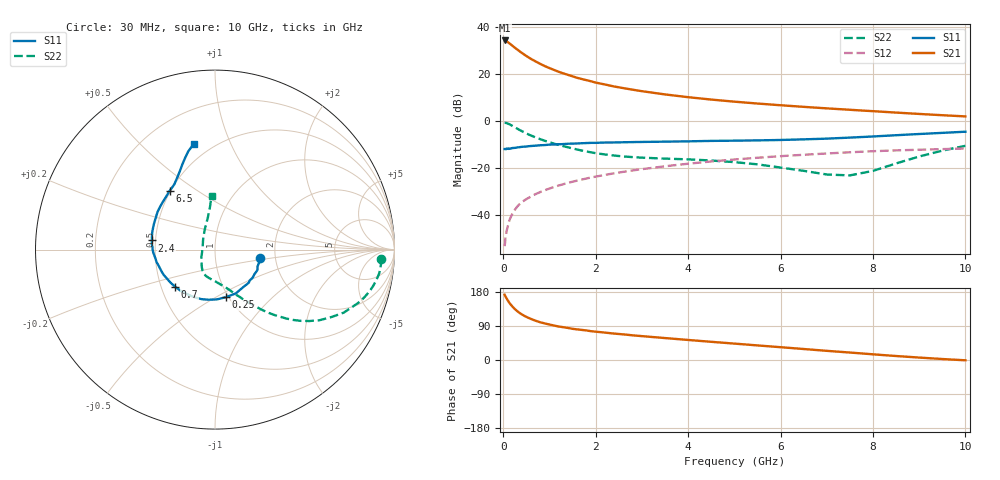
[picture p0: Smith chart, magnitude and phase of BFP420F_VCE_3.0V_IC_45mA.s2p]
! Infineon Technologies  Discrete & RF Semiconductors
! BFP420F
! VCE =  3.0 V,  IC =  45 mA
! Common Emitter S-Parameters:  Sep 2011
# GHz  S  MA  R  50
!  f  S11  S21  S12  S22
! GHz  MAG  ANG  MAG  ANG  MAG  ANG  MAG  ANG
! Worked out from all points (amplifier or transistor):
!   54 points, 30 MHz to 10 GHz, reference 50 ohm
!   highest |S21| = 34.4 dB at 30 MHz (marker M1)
!   |S21| within 3 dB of that: start of sweep to 245.7 MHz
!   unconditionally stable (mu >= 1): 1.322 GHz to end of sweep
!   at 120 MHz: K = 0.40, MSG = 38.3 dB, |S12| = -43.1 dB
!   at 1.3 GHz: K = 1.00, MSG = 23.6 dB, |S12| = -26.8 dB
!   at 10 GHz: K = 1.22, MAG = 4.0 dB, |S12| = -11.6 dB
!   S11 on the Smith chart (normalised r, x): 30 MHz: 1.67, -0.16; 250 MHz: 0.97, -0.56; 700 MHz: 0.59, -0.27; 2.4 GHz: 0.48, +0.06; 6.5 GHz: 0.49, +0.39; 10 GHz: 0.40, +0.74
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0.03  0.257 -10.2  52.63 172.2  0.0022 91.7  0.9269 -3.1
0.07  0.2623 -25.5  50.62 163.3  0.0044 83.7  0.918 -9.9
0.08  0.2615 -27.4  49.67 161.0  0.0049 83.4  0.9116 -11.4
0.12  0.2586 -41.8  46.9 153.1  0.007 81.0  0.878 -17.1
0.15  0.2613 -50.5  44.35 148.1  0.0086 78.8  0.8486 -20.7
0.2  0.2701 -64.6  40.56 140.9  0.0109 75.9  0.7985 -26.1
0.25  0.2719 -77.1  36.96 134.6  0.013 74.2  0.7472 -30.3
0.35  0.2814 -97.0  31.18 124.6  0.0171 71.2  0.6583 -37.2
0.45  0.2885 -111.9  26.58 117.0  0.0205 69.9  0.5856 -42.0
0.6  0.2984 -128.6  21.33 108.3  0.0251 68.7  0.4979 -47.4
0.7  0.3034 -136.8  18.83 103.7  0.0282 68.3  0.4552 -50.2
0.9  0.3124 -148.9  14.97 96.5  0.0341 68.3  0.3855 -54.6
1.1  0.3216 -158.1  12.41 90.9  0.04 68.0  0.3345 -58.8
1.3  0.3279 -165.1  10.48 86.5  0.0459 67.7  0.2963 -62.5
1.7  0.3413 -175.5  7.947 79.4  0.0577 66.8  0.2384 -70.2
2.4  0.3549 171.7  5.512 69.7  0.0783 64.0  0.187 -84.8
3.5  0.3691 157.3  3.738 57.9  0.1105 58.5  0.1608 -103.0
5.5  0.3929 138.3  2.391 38.5  0.1677 46.0  0.1214 -127.5
6.5  0.4133 127.7  2.033 29.0  0.1941 39.2  0.0883 -149.6
7  0.4279 122.1  1.887 24.2  0.2067 35.8  0.0738 -167.8
8.5  0.5061 111.2  1.535 10.5  0.2405 24.8  0.1267 116.7
10  0.6007 101.4  1.272 -0.8  0.2634 15.3  0.3009 93.7
